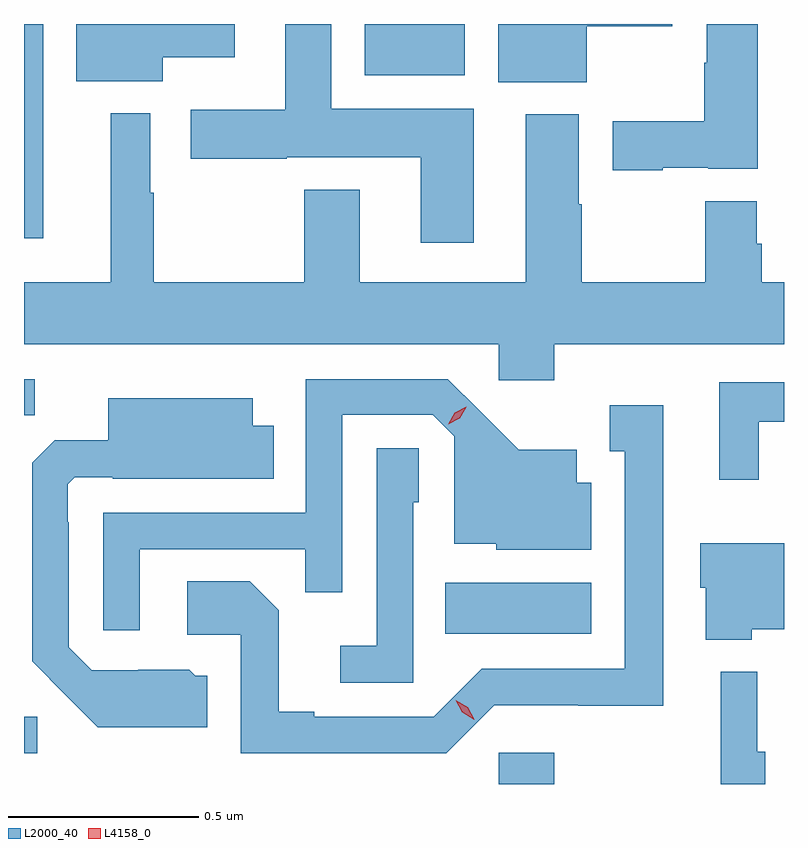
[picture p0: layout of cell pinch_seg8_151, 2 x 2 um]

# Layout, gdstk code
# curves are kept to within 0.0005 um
import gdstk
lib = gdstk.Library(unit=1e-6, precision=1e-09)
def R(c, l, rs):  # rectangles x0, y0, x1, y1
    for r in rs: c.add(gdstk.rectangle(r[:2], r[2:], *l))
def P(c, l, *ps):  # polygons
    for p in ps: c.add(gdstk.Polygon(p, *l))
L2000_40 = (2000, 40)
L4158_0 = (4158, 0)

pinch_seg8_151 = lib.new_cell('pinch_seg8_151')
R(pinch_seg8_151, L2000_40, [(701.388,1141.983,701.535,1142.065), (700.139,1142.064,700.174,1142.16), (701.248,1142.378,701.632,1142.512), (700.139,1142.953,700.167,1143.048), (700.139,1143.419,700.189,1143.983), (701.036,1143.848,701.299,1143.983)])
P(pinch_seg8_151, L2000_40, [(700.504,1143.896),(700.693,1143.896),(700.693,1143.983),(700.277,1143.983),(700.277,1143.833),(700.504,1143.833)],
  [(701.62,1143.977),(701.845,1143.977),(701.845,1143.983),(701.387,1143.983),(701.387,1143.83),(701.62,1143.83)],
  [(701.323,1143.76),(700.948,1143.76),(700.948,1143.983),(700.826,1143.983),(700.826,1143.757),(700.578,1143.757),(700.578,1143.628),(700.83,1143.628),(700.83,1143.632),(701.183,1143.632),(701.183,1143.408),(701.323,1143.408)],
  [(701.82,1143.605),(701.94,1143.605),(701.94,1143.602),(702.07,1143.602),(702.07,1143.983),(701.936,1143.983),(701.936,1143.881),(701.929,1143.881),(701.929,1143.727),(701.688,1143.727),(701.688,1143.598),(701.82,1143.598)],
  [(701.535,1143.14),(702.139,1143.14),(702.139,1143.304),(702.08,1143.304),(702.08,1143.405),(702.067,1143.405),(702.067,1143.517),(701.932,1143.517),(701.932,1143.304),(701.607,1143.304),(701.607,1143.509),(701.599,1143.509),(701.599,1143.745),(701.459,1143.745),(701.459,1143.304),(701.023,1143.304),(701.023,1143.547),(700.876,1143.547),(700.876,1143.304),(700.481,1143.304),(700.481,1143.539),(700.471,1143.539),(700.471,1143.748),(700.367,1143.748),(700.367,1143.304),(700.139,1143.304),(700.139,1143.14),(701.388,1143.14),(701.388,1143.045),(701.535,1143.045)],
  [(700.443,1142.601),(700.879,1142.601),(700.879,1142.488),(700.977,1142.488),(700.977,1142.955),(701.214,1142.955),(701.271,1142.898),(701.271,1142.615),(701.382,1142.615),(701.382,1142.6),(701.632,1142.6),(701.632,1142.776),(701.593,1142.776),(701.593,1142.863),(701.441,1142.863),(701.254,1143.048),(700.881,1143.048),(700.881,1142.697),(700.347,1142.697),(700.347,1142.388),(700.443,1142.388)],
  [(702.073,1142.936),(702.139,1142.936),(702.139,1143.04),(701.969,1143.04),(701.969,1142.784),(702.073,1142.784)],
  [(700.621,1142.268),(700.59,1142.268),(700.574,1142.284),(700.44,1142.284),(700.44,1142.283),(700.317,1142.283),(700.257,1142.343),(700.257,1142.672),(700.254,1142.672),(700.254,1142.772),(700.272,1142.79),(700.372,1142.79),(700.372,1142.786),(700.796,1142.786),(700.796,1142.926),(700.741,1142.926),(700.741,1142.998),(700.361,1142.998),(700.361,1142.887),(700.22,1142.887),(700.161,1142.828),(700.161,1142.306),(700.333,1142.132),(700.621,1142.132)],
  [(701.376,1142.19),(701.598,1142.19),(701.598,1142.189),(701.821,1142.189),(701.821,1142.98),(701.681,1142.98),(701.681,1142.859),(701.72,1142.859),(701.72,1142.286),(701.343,1142.286),(701.217,1142.16),(700.903,1142.16),(700.903,1142.173),(700.809,1142.173),(700.809,1142.44),(700.733,1142.516),(700.569,1142.516),(700.569,1142.376),(700.71,1142.376),(700.71,1142.064),(701.25,1142.064)],
  [(701.163,1142.724),(701.178,1142.724),(701.178,1142.867),(701.067,1142.867),(701.067,1142.347),(700.971,1142.347),(700.971,1142.25),(701.163,1142.25)],
  [(702.054,1142.39),(702.139,1142.39),(702.139,1142.617),(701.918,1142.617),(701.918,1142.499),(701.933,1142.499),(701.933,1142.363),(702.054,1142.363)],
  [(702.089,1142.068),(702.069,1142.068),(702.069,1142.278),(701.972,1142.278),(701.972,1141.983),(702.089,1141.983)])
P(pinch_seg8_151, L4158_0, [(701.255,1142.93),(701.255,1142.93),(701.273,1142.96),(701.303,1142.976),(701.303,1142.976),(701.303,1142.975),(701.286,1142.946),(701.256,1142.93)],
  [(701.324,1142.152),(701.292,1142.172),(701.275,1142.204),(701.275,1142.204),(701.275,1142.204),(701.307,1142.185),(701.324,1142.153),(701.324,1142.152)])

lib.write_gds('pinch_seg8_151.gds')
